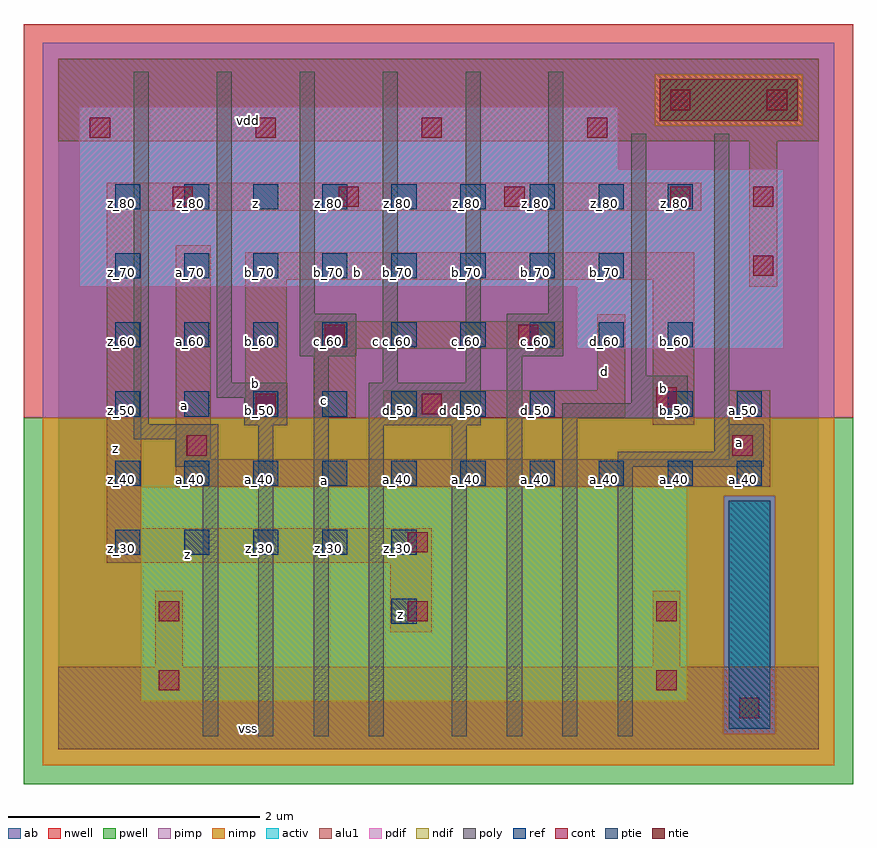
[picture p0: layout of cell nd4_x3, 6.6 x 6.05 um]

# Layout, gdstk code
import gdstk
lib = gdstk.Library(unit=1e-6, precision=2.5e-09)
def R(c, l, rs):  # rectangles x0, y0, x1, y1
    for r in rs: c.add(gdstk.rectangle(r[:2], r[2:], *l))
def A(c, l, x, y, w, h, nx, ny, dx, dy):  # array of equal rectangles
    R(c, l, [(x+i*dx, y+j*dy, x+i*dx+w, y+j*dy+h) for i in range(nx) for j in range(ny)])
ndif = (3, 0)
pdif = (4, 0)
ntie = (5, 0)
ptie = (6, 0)
ref = (24, 0)
cont = (25, 0)
pwell = (41, 0)
nwell = (42, 0)
activ = (43, 0)
pimp = (44, 0)
nimp = (45, 0)
poly = (46, 0)
alu1 = (49, 0)
ab = (63, 0)

nd4_x3 = lib.new_cell('nd4_x3')
R(nd4_x3, ndif, [(0.66,0.385,5.005,2.09)])
R(nd4_x3, pdif, [(4.125,3.19,5.775,3.685), (0.165,3.685,5.775,4.62), (0.165,4.62,4.455,5.115)])
R(nd4_x3, ntie, [(4.785,5.005,5.885,5.335)])
R(nd4_x3, ptie, [(5.335,0.165,5.665,1.98)])
A(nd4_x3, ref, 0.45, 1.55, 0.2, 0.2, 5, 1, 0.55, 0)
A(nd4_x3, ref, 0.45, 2.1, 0.2, 0.2, 10, 1, 0.55, 0)
A(nd4_x3, ref, 0.45, 2.65, 0.2, 0.2, 7, 1, 0.55, 0)
A(nd4_x3, ref, 0.45, 3.2, 0.2, 0.2, 9, 2, 0.55, 1.1)
A(nd4_x3, ref, 0.45, 3.75, 0.2, 0.2, 8, 1, 0.55, 0)
R(nd4_x3, ref, [(2.65,1,2.85,1.2), (4.85,2.65,5.05,2.85), (5.4,2.65,5.6,2.85)])
A(nd4_x3, cont, 0.8, 1.02, 0.16, 0.16, 3, 1, 1.98, 0)
A(nd4_x3, cont, 0.91, 4.32, 0.16, 0.16, 4, 1, 1.32, 0)
A(nd4_x3, cont, 0.25, 4.87, 0.16, 0.16, 4, 1, 1.32, 0)
R(nd4_x3, cont, [(5.42,0.25,5.58,0.41), (0.8,0.47,0.96,0.63), (4.76,0.47,4.92,0.63), (2.78,1.57,2.94,1.73), (1.02,2.34,1.18,2.5), (5.365,2.34,5.525,2.5), (1.57,2.67,1.73,2.83), (2.89,2.67,3.05,2.83), (4.76,2.725,4.92,2.885), (2.12,3.22,2.28,3.38), (3.66,3.22,3.82,3.38), (5.53,3.77,5.69,3.93), (5.53,4.32,5.69,4.48), (4.87,5.09,5.03,5.25), (5.64,5.09,5.8,5.25)])
R(nd4_x3, pwell, [(-0.275,-0.275,6.325,2.64)])
R(nd4_x3, nwell, [(-0.275,2.64,6.325,5.775)])
R(nd4_x3, activ, [(5.335,0.165,5.665,1.98), (0.66,0.385,5.005,2.09), (4.125,3.19,5.775,3.685), (0.165,3.685,5.775,4.62), (0.165,4.62,4.455,5.115), (4.785,5.005,5.885,5.335)])
R(nd4_x3, pimp, [(5.295,0.125,5.705,2.02), (-0.125,2.64,6.175,4.965), (-0.125,4.965,4.745,5.375), (5.925,4.965,6.175,5.375), (-0.125,5.375,6.175,5.625)])
R(nd4_x3, nimp, [(-0.125,-0.125,6.175,0.125), (-0.125,0.125,5.295,2.02), (5.705,0.125,6.175,2.02), (-0.125,2.02,6.175,2.64), (4.745,4.965,5.925,5.375)])
R(nd4_x3, poly, [(1.15,0.105,1.27,2.25), (1.59,0.105,1.71,2.58), (2.03,0.105,2.15,3.13), (2.47,0.105,2.59,2.58), (3.13,0.105,3.25,2.58), (3.57,0.105,3.69,3.13), (4.01,0.105,4.13,2.635), (4.45,0.105,4.57,2.25), (0.93,2.25,1.27,2.47), (4.45,2.25,5.615,2.37), (5.22,2.37,5.615,2.59), (0.6,2.47,1.27,2.59), (1.48,2.58,1.82,2.8), (2.47,2.58,3.36,2.92), (0.6,2.59,0.72,5.395), (5.22,2.59,5.34,4.9), (4.01,2.635,5.01,2.755), (4.56,2.755,5.01,2.975), (1.26,2.8,1.82,2.92), (1.26,2.92,1.38,5.395), (2.58,2.92,2.7,5.395), (3.24,2.92,3.36,5.395), (4.56,2.975,4.68,4.9), (1.92,3.13,2.37,3.47), (3.57,3.13,4.02,3.47), (1.92,3.47,2.04,5.395), (3.9,3.47,4.02,5.395)])
R(nd4_x3, alu1, [(0,0,6.05,0.66), (0.77,0.66,0.99,1.265), (4.73,0.66,4.95,1.265), (2.64,0.935,2.97,1.485), (0.385,1.485,2.97,1.76), (0.385,1.76,0.66,4.29), (0.935,2.09,5.665,2.31), (0.935,2.31,1.21,4.015), (5.335,2.31,5.665,2.86), (4.73,2.585,5.06,3.74), (1.485,2.64,1.815,3.74), (2.035,2.64,2.365,3.19), (2.585,2.64,4.51,2.86), (4.29,2.86,4.51,3.465), (2.035,3.19,4.015,3.41), (5.5,3.685,5.72,4.84), (1.485,3.74,5.06,3.96), (0.385,4.29,5.115,4.51), (0,4.84,6.05,5.5)])
R(nd4_x3, ab, [(0,0,6.05,5.5)])
nd4_x3.add(gdstk.Label('vss', (1.5125,0.165), layer=49, texttype=0))
nd4_x3.add(gdstk.Label('z', (2.7225,1.0725), layer=49, texttype=0))
nd4_x3.add(gdstk.Label('z', (1.03,1.5525), layer=49, texttype=0))
nd4_x3.add(gdstk.Label('a', (2.1175,2.145), layer=49, texttype=0))
nd4_x3.add(gdstk.Label('a', (5.4175,2.4475), layer=49, texttype=0))
nd4_x3.add(gdstk.Label('b', (4.8125,2.8725), layer=49, texttype=0))
nd4_x3.add(gdstk.Label('d', (3.065,2.695), layer=49, texttype=0))
nd4_x3.add(gdstk.Label('d', (4.345,3.01), layer=49, texttype=0))
nd4_x3.add(gdstk.Label('c', (2.1175,2.7775), layer=49, texttype=0))
nd4_x3.add(gdstk.Label('c', (2.53,3.245), layer=49, texttype=0))
nd4_x3.add(gdstk.Label('b', (1.5675,2.915), layer=49, texttype=0))
nd4_x3.add(gdstk.Label('b', (2.3775,3.795), layer=49, texttype=0))
nd4_x3.add(gdstk.Label('a', (1.0025,2.735), layer=49, texttype=0))
nd4_x3.add(gdstk.Label('z', (0.4525,2.3925), layer=49, texttype=0))
nd4_x3.add(gdstk.Label('z', (1.5675,4.345), layer=49, texttype=0))
nd4_x3.add(gdstk.Label('vdd', (1.5125,5.005), layer=49, texttype=0))
nd4_x3.add(gdstk.Label('d_60', (4.35,3.25), layer=24, texttype=0))
nd4_x3.add(gdstk.Label('b_60', (4.9,3.25), layer=24, texttype=0))
nd4_x3.add(gdstk.Label('d_50', (3.8,2.7), layer=24, texttype=0))
nd4_x3.add(gdstk.Label('b_50', (4.9,2.7), layer=24, texttype=0))
nd4_x3.add(gdstk.Label('a_50', (5.45,2.7), layer=24, texttype=0))
nd4_x3.add(gdstk.Label('z_80', (4.9,4.35), layer=24, texttype=0))
nd4_x3.add(gdstk.Label('a_40', (1.05,2.15), layer=24, texttype=0))
nd4_x3.add(gdstk.Label('z_80', (0.5,4.35), layer=24, texttype=0))
nd4_x3.add(gdstk.Label('z_20', (2.7,1.05), layer=24, texttype=0))
nd4_x3.add(gdstk.Label('a_40', (5.45,2.15), layer=24, texttype=0))
nd4_x3.add(gdstk.Label('b_70', (1.6,3.8), layer=24, texttype=0))
nd4_x3.add(gdstk.Label('b_70', (4.35,3.8), layer=24, texttype=0))
nd4_x3.add(gdstk.Label('z_30', (1.05,1.6), layer=24, texttype=0))
nd4_x3.add(gdstk.Label('z_40', (0.5,2.15), layer=24, texttype=0))
nd4_x3.add(gdstk.Label('c_60', (2.7,3.25), layer=24, texttype=0))
nd4_x3.add(gdstk.Label('c_60', (2.15,3.25), layer=24, texttype=0))
nd4_x3.add(gdstk.Label('d_50', (2.7,2.7), layer=24, texttype=0))
nd4_x3.add(gdstk.Label('b_60', (1.6,3.25), layer=24, texttype=0))
nd4_x3.add(gdstk.Label('a_50', (1.05,2.7), layer=24, texttype=0))
nd4_x3.add(gdstk.Label('z_60', (0.5,3.25), layer=24, texttype=0))
nd4_x3.add(gdstk.Label('z_80', (2.15,4.35), layer=24, texttype=0))
nd4_x3.add(gdstk.Label('z_50', (0.5,2.7), layer=24, texttype=0))
nd4_x3.add(gdstk.Label('z_80', (1.05,4.35), layer=24, texttype=0))
nd4_x3.add(gdstk.Label('d_50', (3.25,2.7), layer=24, texttype=0))
nd4_x3.add(gdstk.Label('c_60', (3.25,3.25), layer=24, texttype=0))
nd4_x3.add(gdstk.Label('c_60', (3.8,3.25), layer=24, texttype=0))
nd4_x3.add(gdstk.Label('b_70', (2.15,3.8), layer=24, texttype=0))
nd4_x3.add(gdstk.Label('z_80', (1.6,4.35), layer=24, texttype=0))
nd4_x3.add(gdstk.Label('z_80', (2.7,4.35), layer=24, texttype=0))
nd4_x3.add(gdstk.Label('z_80', (3.25,4.35), layer=24, texttype=0))
nd4_x3.add(gdstk.Label('z_80', (3.8,4.35), layer=24, texttype=0))
nd4_x3.add(gdstk.Label('z_80', (4.35,4.35), layer=24, texttype=0))
nd4_x3.add(gdstk.Label('z_30', (1.6,1.6), layer=24, texttype=0))
nd4_x3.add(gdstk.Label('z_30', (2.15,1.6), layer=24, texttype=0))
nd4_x3.add(gdstk.Label('z_30', (2.7,1.6), layer=24, texttype=0))
nd4_x3.add(gdstk.Label('b_70', (2.7,3.8), layer=24, texttype=0))
nd4_x3.add(gdstk.Label('b_70', (3.25,3.8), layer=24, texttype=0))
nd4_x3.add(gdstk.Label('b_70', (3.8,3.8), layer=24, texttype=0))
nd4_x3.add(gdstk.Label('a_40', (1.6,2.15), layer=24, texttype=0))
nd4_x3.add(gdstk.Label('a_40', (2.15,2.15), layer=24, texttype=0))
nd4_x3.add(gdstk.Label('a_40', (2.7,2.15), layer=24, texttype=0))
nd4_x3.add(gdstk.Label('a_40', (3.25,2.15), layer=24, texttype=0))
nd4_x3.add(gdstk.Label('a_40', (3.8,2.15), layer=24, texttype=0))
nd4_x3.add(gdstk.Label('a_40', (4.35,2.15), layer=24, texttype=0))
nd4_x3.add(gdstk.Label('z_70', (0.5,3.8), layer=24, texttype=0))
nd4_x3.add(gdstk.Label('a_60', (1.05,3.25), layer=24, texttype=0))
nd4_x3.add(gdstk.Label('a_70', (1.05,3.8), layer=24, texttype=0))
nd4_x3.add(gdstk.Label('b_50', (1.6,2.7), layer=24, texttype=0))
nd4_x3.add(gdstk.Label('c_50', (2.15,2.7), layer=24, texttype=0))
nd4_x3.add(gdstk.Label('a_40', (4.9,2.15), layer=24, texttype=0))
nd4_x3.add(gdstk.Label('z_30', (0.5,1.6), layer=24, texttype=0))

lib.write_gds('nd4_x3.gds')
